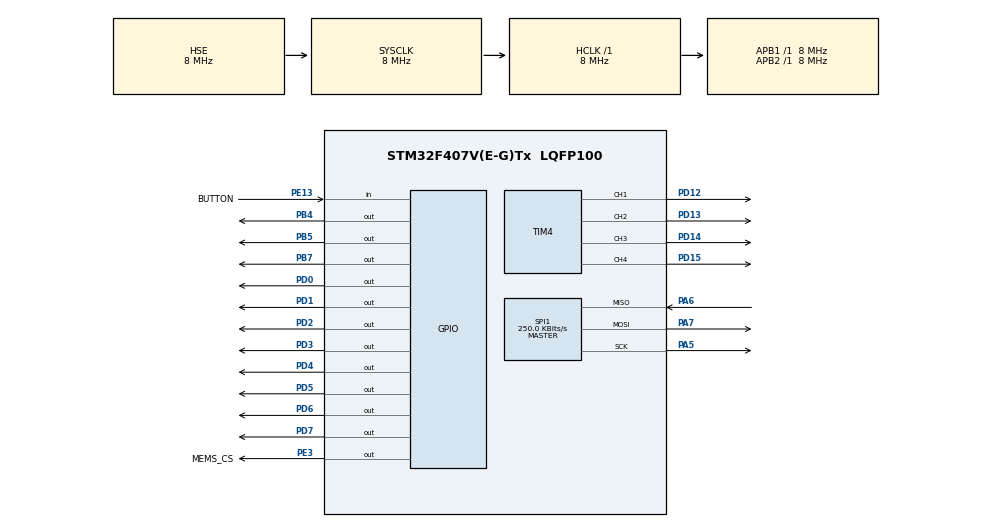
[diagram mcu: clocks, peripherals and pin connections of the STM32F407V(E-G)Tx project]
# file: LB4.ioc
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Mcu.Family=STM32F4
Mcu.Name=STM32F407V(E-G)Tx
Mcu.Package=LQFP100
NVIC.PriorityGroup=NVIC_PRIORITYGROUP_4
PA5.Mode=Full_Duplex_Master
PA5.Signal=SPI1_SCK
PA6.Mode=Full_Duplex_Master
PA6.Signal=SPI1_MISO
PA7.Mode=Full_Duplex_Master
PA7.Signal=SPI1_MOSI
PB4.Signal=GPIO_Output
PB5.Signal=GPIO_Output
PB7.Signal=GPIO_Output
PD0.Signal=GPIO_Output
PD1.Signal=GPIO_Output
PD12.Signal=S_TIM4_CH1
PD13.Signal=S_TIM4_CH2
PD14.Signal=S_TIM4_CH3
PD15.Signal=S_TIM4_CH4
PD2.Signal=GPIO_Output
PD3.Signal=GPIO_Output
PD4.Signal=GPIO_Output
PD5.Signal=GPIO_Output
PD6.Signal=GPIO_Output
PD7.Signal=GPIO_Output
PE13.GPIO_Label=BUTTON
PE13.Signal=GPIO_Input
PE3.GPIO_Label=MEMS_CS
PE3.GPIO_Speed=GPIO_SPEED_FREQ_MEDIUM
PE3.Signal=GPIO_Output
PH0-OSC_IN.Mode=HSE-External-Oscillator
PH0-OSC_IN.Signal=RCC_OSC_IN
PH1-OSC_OUT.Mode=HSE-External-Oscillator
PH1-OSC_OUT.Signal=RCC_OSC_OUT
ProjectManager.HeapSize=0x0
ProjectManager.StackSize=0x100
ProjectManager.TargetToolchain=STM32CubeIDE
RCC.48MHZClocksFreq_Value=48000000
RCC.AHBFreq_Value=8000000
RCC.APB1Freq_Value=8000000
RCC.APB1TimFreq_Value=8000000
RCC.APB2Freq_Value=8000000
RCC.APB2TimFreq_Value=8000000
RCC.CortexFreq_Value=8000000
RCC.HCLKFreq_Value=8000000
RCC.HSE_VALUE=8000000
RCC.HSI_VALUE=16000000
RCC.LSE_VALUE=32768
RCC.SYSCLKFreq_VALUE=8000000
RCC.SYSCLKSource=RCC_SYSCLKSOURCE_HSE
RCC.VCOOutputFreq_Value=192000000
SH.S_TIM4_CH1.0=TIM4_CH1,PWM Generation1 CH1
SH.S_TIM4_CH2.0=TIM4_CH2,PWM Generation2 CH2
SH.S_TIM4_CH3.0=TIM4_CH3,PWM Generation3 CH3
SH.S_TIM4_CH4.0=TIM4_CH4,PWM Generation4 CH4
SPI1.BaudRatePrescaler=SPI_BAUDRATEPRESCALER_32
SPI1.CLKPhase=SPI_PHASE_1EDGE
SPI1.CLKPolarity=SPI_POLARITY_LOW
SPI1.CalculateBaudRate=250.0 KBits/s
SPI1.Direction=SPI_DIRECTION_2LINES
SPI1.Mode=SPI_MODE_MASTER
SPI1.VirtualType=VM_MASTER
TIM4.Channel-PWM\ Generation1\ CH1=TIM_CHANNEL_1
TIM4.Channel-PWM\ Generation2\ CH2=TIM_CHANNEL_2
TIM4.Channel-PWM\ Generation3\ CH3=TIM_CHANNEL_3
TIM4.Channel-PWM\ Generation4\ CH4=TIM_CHANNEL_4
VP_TIM4_VS_ClockSourceINT.Mode=Internal
board=custom

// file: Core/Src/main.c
/* USER CODE BEGIN Header */
/**
 ******************************************************************************
 * @file           : main.c
 * @brief          : Main program body
 ******************************************************************************
 * @attention
 *
 * Copyright (c) 2023 STMicroelectronics.
 * All rights reserved.
 *
 * This software is licensed under terms that can be found in the LICENSE file
 * in the root directory of this software component.
 * If no LICENSE file comes with this software, it is provided AS-IS.
 *
 ******************************************************************************
 */
/* USER CODE END Header */
#include "main.h"

SPI_HandleTypeDef hspi1;

TIM_HandleTypeDef htim4;

/* USER CODE BEGIN PV */
Lcd_PortType LCDPT[] =	{ GPIOD, GPIOD, GPIOD, GPIOD, GPIOD, GPIOD, GPIOD, GPIOD };
Lcd_PinType LCDPINT[] = { GPIO_PIN_0, GPIO_PIN_1, GPIO_PIN_2, GPIO_PIN_3,
		GPIO_PIN_4, GPIO_PIN_5, GPIO_PIN_6, GPIO_PIN_7 };
Lcd_HandleTypeDef Display;

uint8_t SPI_DEV_ID = 0x00;

int16_t OUT_X=0x00;
int16_t OUT_Y=0x00;
int16_t OUT_Z=0x00;// not used

uint8_t SPI_Addr=0x00;
uint8_t SPI_Data=0x00;
/* USER CODE END PV */

void SystemClock_Config(void);
static void MX_GPIO_Init(void);
static void MX_SPI1_Init(void);
static void MX_TIM4_Init(void);

int main(void)
{

  /* MCU Configuration--------------------------------------------------------*/

  /* Reset of all peripherals, Initializes the Flash interface and the Systick. */
  HAL_Init();

  /* Configure the system clock */
  SystemClock_Config();

  /* Initialize all configured peripherals */
  MX_GPIO_Init();
  MX_SPI1_Init();
  MX_TIM4_Init();
  /* USER CODE BEGIN 2 */
	Display = Lcd_create(LCDPT, LCDPINT, GPIOB, GPIO_PIN_7, GPIOB, GPIO_PIN_5, LCD_8_BIT_MODE);
	Lcd_init(&Display);

	HAL_GPIO_WritePin(MEMS_CS_GPIO_Port, MEMS_CS_Pin, GPIO_PIN_RESET);
	SPI_Addr=0x0F|0x80;	//(MEMS_WHO_AM_I | MEMS_RW) & (~MEMS_MS);

	HAL_SPI_TransmitReceive(&hspi1, &SPI_Addr, &SPI_Data, sizeof(SPI_Addr), 10000);
	SPI_Addr=0x00;

	HAL_SPI_TransmitReceive(&hspi1, &SPI_Addr, &SPI_Data, sizeof(SPI_Addr), 10000);
	SPI_DEV_ID=SPI_Data;
	HAL_GPIO_WritePin(MEMS_CS_GPIO_Port, MEMS_CS_Pin, GPIO_PIN_SET);

	HAL_GPIO_WritePin(MEMS_CS_GPIO_Port, MEMS_CS_Pin, GPIO_PIN_RESET);

	SPI_Addr=0x20;
	HAL_SPI_TransmitReceive(&hspi1, &SPI_Addr, &SPI_Data, sizeof(SPI_Addr), 1000);
	SPI_Data=0x67;
	HAL_SPI_TransmitReceive(&hspi1, &SPI_Data, &SPI_Addr, sizeof(SPI_Addr), 1000);

	SPI_Addr=0x24;
	HAL_SPI_TransmitReceive(&hspi1, &SPI_Addr, &SPI_Data, sizeof(SPI_Addr), 1000);
	SPI_Data=0x20;
	HAL_SPI_TransmitReceive(&hspi1, &SPI_Data, &SPI_Addr, sizeof(SPI_Addr), 1000);

	HAL_GPIO_WritePin(MEMS_CS_GPIO_Port, MEMS_CS_Pin, GPIO_PIN_SET);

	Lcd_hex(&Display, SPI_DEV_ID);
	while (GPIOE->IDR & GPIO_PIN_13);

	HAL_TIM_PWM_Start(&htim4, TIM_CHANNEL_1);
	HAL_TIM_PWM_Start(&htim4, TIM_CHANNEL_2);
	HAL_TIM_PWM_Start(&htim4, TIM_CHANNEL_3);
	HAL_TIM_PWM_Start(&htim4, TIM_CHANNEL_4);

  /* USER CODE END 2 */

  /* Infinite loop */
  /* USER CODE BEGIN WHILE */
	while (1) {
		// MEMS SPI data polling
		SPI_Addr=MEMS_OUT_X|MEMS_RW;
		SPI_Data=0x00;
		HAL_GPIO_WritePin(MEMS_CS_GPIO_Port, MEMS_CS_Pin, GPIO_PIN_RESET);

		HAL_SPI_TransmitReceive(&hspi1, &SPI_Addr, &SPI_Data, sizeof(SPI_Addr), 1000);
		HAL_SPI_TransmitReceive(&hspi1, &SPI_Addr, &SPI_Data, sizeof(SPI_Addr), 1000);
		OUT_X=SPI_Data;

		HAL_SPI_TransmitReceive(&hspi1, &SPI_Addr, &SPI_Data, sizeof(SPI_Addr), 1000);
		OUT_X|=SPI_Data<<8;

		HAL_SPI_TransmitReceive(&hspi1, &SPI_Addr, &SPI_Data, sizeof(SPI_Addr), 1000);
		OUT_Y=SPI_Data;

		HAL_SPI_TransmitReceive(&hspi1, &SPI_Addr, &SPI_Data, sizeof(SPI_Addr), 1000);
		OUT_Y|=SPI_Data<<8;

		HAL_SPI_TransmitReceive(&hspi1, &SPI_Addr, &SPI_Data, sizeof(SPI_Addr), 1000);
		OUT_Z=SPI_Data;

		HAL_SPI_TransmitReceive(&hspi1, &SPI_Addr, &SPI_Data, sizeof(SPI_Addr), 1000);
		OUT_Z|=SPI_Data<<8;

		HAL_GPIO_WritePin(MEMS_CS_GPIO_Port, MEMS_CS_Pin, GPIO_PIN_SET);

		// LED lightning rely on a MEMS data
		TIM4->CCR3 =	OUT_X * 4 < 0 ? 0 : (OUT_X * 4 > 65535 ? 65535 : OUT_X * 4);

		TIM4->CCR1 = OUT_X * 4 > 0 ? 0 : (OUT_X * (-4) > 65535 ? 65535 : OUT_X * (-4));

		TIM4->CCR2 = OUT_Y * 4 < 0 ? 0 : (OUT_Y * 4 > 65535 ? 65535 : OUT_Y * 4);

		TIM4->CCR4 = OUT_Y * 4 > 0 ? 0 : (OUT_Y * (-4) > 65535 ? 65535 : OUT_Y * (-4));

		Lcd_int(&Display, OUT_Z);
		HAL_Delay(15);
		Lcd_clear(&Display);

    /* USER CODE END WHILE */

	}
}

void SystemClock_Config(void)
{
  RCC_OscInitTypeDef RCC_OscInitStruct = {0};
  RCC_ClkInitTypeDef RCC_ClkInitStruct = {0};

  /** Configure the main internal regulator output voltage
  */
  __HAL_RCC_PWR_CLK_ENABLE();
  __HAL_PWR_VOLTAGESCALING_CONFIG(PWR_REGULATOR_VOLTAGE_SCALE1);

  /** Initializes the RCC Oscillators according to the specified parameters
  * in the RCC_OscInitTypeDef structure.
  */
  RCC_OscInitStruct.OscillatorType = RCC_OSCILLATORTYPE_HSE;
  RCC_OscInitStruct.HSEState = RCC_HSE_ON;
  RCC_OscInitStruct.PLL.PLLState = RCC_PLL_NONE;
  if (HAL_RCC_OscConfig(&RCC_OscInitStruct) != HAL_OK)
  {
    Error_Handler();
  }

  /** Initializes the CPU, AHB and APB buses clocks
  */
  RCC_ClkInitStruct.ClockType = RCC_CLOCKTYPE_HCLK|RCC_CLOCKTYPE_SYSCLK
                              |RCC_CLOCKTYPE_PCLK1|RCC_CLOCKTYPE_PCLK2;
  RCC_ClkInitStruct.SYSCLKSource = RCC_SYSCLKSOURCE_HSE;
  RCC_ClkInitStruct.AHBCLKDivider = RCC_SYSCLK_DIV1;
  RCC_ClkInitStruct.APB1CLKDivider = RCC_HCLK_DIV1;
  RCC_ClkInitStruct.APB2CLKDivider = RCC_HCLK_DIV1;

  if (HAL_RCC_ClockConfig(&RCC_ClkInitStruct, FLASH_LATENCY_0) != HAL_OK)
  {
    Error_Handler();
  }
}

static void MX_SPI1_Init(void)
{

  /* SPI1 parameter configuration*/
  hspi1.Instance = SPI1;
  hspi1.Init.Mode = SPI_MODE_MASTER;
  hspi1.Init.Direction = SPI_DIRECTION_2LINES;
  hspi1.Init.DataSize = SPI_DATASIZE_8BIT;
  hspi1.Init.CLKPolarity = SPI_POLARITY_LOW;
  hspi1.Init.CLKPhase = SPI_PHASE_1EDGE;
  hspi1.Init.NSS = SPI_NSS_SOFT;
  hspi1.Init.BaudRatePrescaler = SPI_BAUDRATEPRESCALER_32;
  hspi1.Init.FirstBit = SPI_FIRSTBIT_MSB;
  hspi1.Init.TIMode = SPI_TIMODE_DISABLE;
  hspi1.Init.CRCCalculation = SPI_CRCCALCULATION_DISABLE;
  hspi1.Init.CRCPolynomial = 10;
  if (HAL_SPI_Init(&hspi1) != HAL_OK)
  {
    Error_Handler();
  }

}

static void MX_TIM4_Init(void)
{

  TIM_ClockConfigTypeDef sClockSourceConfig = {0};
  TIM_MasterConfigTypeDef sMasterConfig = {0};
  TIM_OC_InitTypeDef sConfigOC = {0};

  htim4.Instance = TIM4;
  htim4.Init.Prescaler = 0;
  htim4.Init.CounterMode = TIM_COUNTERMODE_UP;
  htim4.Init.Period = 65535;
  htim4.Init.ClockDivision = TIM_CLOCKDIVISION_DIV1;
  htim4.Init.AutoReloadPreload = TIM_AUTORELOAD_PRELOAD_DISABLE;
  if (HAL_TIM_Base_Init(&htim4) != HAL_OK)
  {
    Error_Handler();
  }
  sClockSourceConfig.ClockSource = TIM_CLOCKSOURCE_INTERNAL;
  if (HAL_TIM_ConfigClockSource(&htim4, &sClockSourceConfig) != HAL_OK)
  {
    Error_Handler();
  }
  if (HAL_TIM_PWM_Init(&htim4) != HAL_OK)
  {
    Error_Handler();
  }
  sMasterConfig.MasterOutputTrigger = TIM_TRGO_RESET;
  sMasterConfig.MasterSlaveMode = TIM_MASTERSLAVEMODE_DISABLE;
  if (HAL_TIMEx_MasterConfigSynchronization(&htim4, &sMasterConfig) != HAL_OK)
  {
    Error_Handler();
  }
  sConfigOC.OCMode = TIM_OCMODE_PWM1;
  sConfigOC.Pulse = 0;
  sConfigOC.OCPolarity = TIM_OCPOLARITY_HIGH;
  sConfigOC.OCFastMode = TIM_OCFAST_DISABLE;
  if (HAL_TIM_PWM_ConfigChannel(&htim4, &sConfigOC, TIM_CHANNEL_1) != HAL_OK)
  {
    Error_Handler();
  }
  if (HAL_TIM_PWM_ConfigChannel(&htim4, &sConfigOC, TIM_CHANNEL_2) != HAL_OK)
  {
    Error_Handler();
  }
  if (HAL_TIM_PWM_ConfigChannel(&htim4, &sConfigOC, TIM_CHANNEL_3) != HAL_OK)
  {
    Error_Handler();
  }
  if (HAL_TIM_PWM_ConfigChannel(&htim4, &sConfigOC, TIM_CHANNEL_4) != HAL_OK)
  {
    Error_Handler();
  }
  HAL_TIM_MspPostInit(&htim4);

}

static void MX_GPIO_Init(void)
{
  GPIO_InitTypeDef GPIO_InitStruct = {0};

  /* GPIO Ports Clock Enable */
  __HAL_RCC_GPIOE_CLK_ENABLE();
  __HAL_RCC_GPIOH_CLK_ENABLE();
  __HAL_RCC_GPIOA_CLK_ENABLE();
  __HAL_RCC_GPIOD_CLK_ENABLE();
  __HAL_RCC_GPIOB_CLK_ENABLE();

  /*Configure GPIO pin Output Level */
  HAL_GPIO_WritePin(MEMS_CS_GPIO_Port, MEMS_CS_Pin, GPIO_PIN_RESET);

  /*Configure GPIO pin Output Level */
  HAL_GPIO_WritePin(GPIOD, GPIO_PIN_0|GPIO_PIN_1|GPIO_PIN_2|GPIO_PIN_3
                          |GPIO_PIN_4|GPIO_PIN_5|GPIO_PIN_6|GPIO_PIN_7, GPIO_PIN_RESET);

  /*Configure GPIO pin Output Level */
  HAL_GPIO_WritePin(GPIOB, GPIO_PIN_4|GPIO_PIN_5|GPIO_PIN_7, GPIO_PIN_RESET);

  /*Configure GPIO pin : MEMS_CS_Pin */
  GPIO_InitStruct.Pin = MEMS_CS_Pin;
  GPIO_InitStruct.Mode = GPIO_MODE_OUTPUT_PP;
  GPIO_InitStruct.Pull = GPIO_NOPULL;
  GPIO_InitStruct.Speed = GPIO_SPEED_FREQ_MEDIUM;
  HAL_GPIO_Init(MEMS_CS_GPIO_Port, &GPIO_InitStruct);

  /*Configure GPIO pin : BUTTON_Pin */
  GPIO_InitStruct.Pin = BUTTON_Pin;
  GPIO_InitStruct.Mode = GPIO_MODE_INPUT;
  GPIO_InitStruct.Pull = GPIO_NOPULL;
  HAL_GPIO_Init(BUTTON_GPIO_Port, &GPIO_InitStruct);

  /*Configure GPIO pins : PD0 PD1 PD2 PD3
                           PD4 PD5 PD6 PD7 */
  GPIO_InitStruct.Pin = GPIO_PIN_0|GPIO_PIN_1|GPIO_PIN_2|GPIO_PIN_3
                          |GPIO_PIN_4|GPIO_PIN_5|GPIO_PIN_6|GPIO_PIN_7;
  GPIO_InitStruct.Mode = GPIO_MODE_OUTPUT_PP;
  GPIO_InitStruct.Pull = GPIO_NOPULL;
  GPIO_InitStruct.Speed = GPIO_SPEED_FREQ_LOW;
  HAL_GPIO_Init(GPIOD, &GPIO_InitStruct);

  /*Configure GPIO pins : PB4 PB5 PB7 */
  GPIO_InitStruct.Pin = GPIO_PIN_4|GPIO_PIN_5|GPIO_PIN_7;
  GPIO_InitStruct.Mode = GPIO_MODE_OUTPUT_PP;
  GPIO_InitStruct.Pull = GPIO_NOPULL;
  GPIO_InitStruct.Speed = GPIO_SPEED_FREQ_LOW;
  HAL_GPIO_Init(GPIOB, &GPIO_InitStruct);

}

void Error_Handler(void)
{
	__disable_irq();
	while (1) {
	}
}
